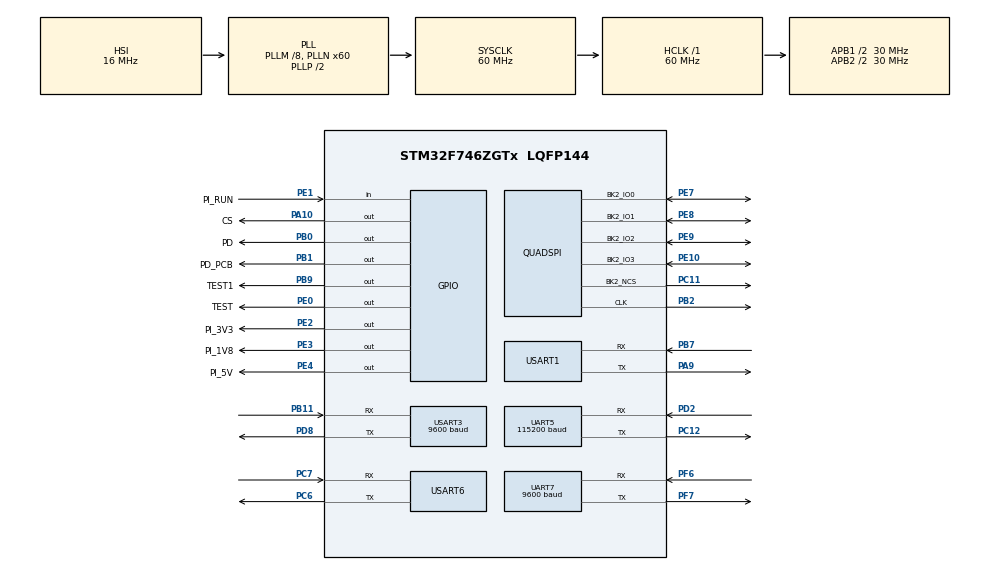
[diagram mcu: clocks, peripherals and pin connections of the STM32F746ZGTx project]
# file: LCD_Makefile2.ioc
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Dma.Request0=USART3_RX
Dma.Request1=UART7_RX
Dma.Request2=UART5_RX
Dma.Request3=USART1_RX
Dma.UART5_RX.2.Direction=DMA_PERIPH_TO_MEMORY
Dma.UART5_RX.2.FIFOMode=DMA_FIFOMODE_DISABLE
Dma.UART5_RX.2.Instance=DMA1_Stream0
Dma.UART5_RX.2.MemDataAlignment=DMA_MDATAALIGN_BYTE
Dma.UART5_RX.2.MemInc=DMA_MINC_ENABLE
Dma.UART5_RX.2.Mode=DMA_NORMAL
Dma.UART5_RX.2.PeriphDataAlignment=DMA_PDATAALIGN_BYTE
Dma.UART5_RX.2.PeriphInc=DMA_PINC_DISABLE
Dma.UART5_RX.2.Priority=DMA_PRIORITY_LOW
Dma.UART7_RX.1.Direction=DMA_PERIPH_TO_MEMORY
Dma.UART7_RX.1.FIFOMode=DMA_FIFOMODE_DISABLE
Dma.UART7_RX.1.Instance=DMA1_Stream3
Dma.UART7_RX.1.MemDataAlignment=DMA_MDATAALIGN_BYTE
Dma.UART7_RX.1.MemInc=DMA_MINC_ENABLE
Dma.UART7_RX.1.Mode=DMA_NORMAL
Dma.UART7_RX.1.PeriphDataAlignment=DMA_PDATAALIGN_BYTE
Dma.UART7_RX.1.PeriphInc=DMA_PINC_DISABLE
Dma.UART7_RX.1.Priority=DMA_PRIORITY_LOW
Dma.USART1_RX.3.Direction=DMA_PERIPH_TO_MEMORY
Dma.USART1_RX.3.FIFOMode=DMA_FIFOMODE_DISABLE
Dma.USART1_RX.3.Instance=DMA2_Stream2
Dma.USART1_RX.3.MemDataAlignment=DMA_MDATAALIGN_BYTE
Dma.USART1_RX.3.MemInc=DMA_MINC_ENABLE
Dma.USART1_RX.3.Mode=DMA_NORMAL
Dma.USART1_RX.3.PeriphDataAlignment=DMA_PDATAALIGN_BYTE
Dma.USART1_RX.3.PeriphInc=DMA_PINC_DISABLE
Dma.USART1_RX.3.Priority=DMA_PRIORITY_LOW
Dma.USART3_RX.0.Direction=DMA_PERIPH_TO_MEMORY
Dma.USART3_RX.0.FIFOMode=DMA_FIFOMODE_DISABLE
Dma.USART3_RX.0.Instance=DMA1_Stream1
Dma.USART3_RX.0.MemDataAlignment=DMA_MDATAALIGN_BYTE
Dma.USART3_RX.0.MemInc=DMA_MINC_ENABLE
Dma.USART3_RX.0.Mode=DMA_NORMAL
Dma.USART3_RX.0.PeriphDataAlignment=DMA_PDATAALIGN_BYTE
Dma.USART3_RX.0.PeriphInc=DMA_PINC_DISABLE
Dma.USART3_RX.0.Priority=DMA_PRIORITY_LOW
Mcu.Family=STM32F7
Mcu.Name=STM32F746ZGTx
Mcu.Package=LQFP144
NVIC.DMA1_Stream0_IRQn=true\:0\:0\:false\:false\:true\:false\:true
NVIC.DMA1_Stream1_IRQn=true\:0\:0\:false\:false\:true\:false\:true
NVIC.DMA1_Stream3_IRQn=true\:0\:0\:false\:false\:true\:false\:true
NVIC.DMA2_Stream2_IRQn=true\:0\:0\:false\:false\:true\:false\:true
NVIC.PriorityGroup=NVIC_PRIORITYGROUP_4
NVIC.TIM1_UP_TIM10_IRQn=true\:0\:0\:false\:false\:true\:true\:true
NVIC.UART5_IRQn=true\:0\:0\:false\:false\:true\:true\:true
NVIC.UART7_IRQn=true\:0\:0\:false\:false\:true\:true\:true
NVIC.USART1_IRQn=true\:0\:0\:false\:false\:true\:true\:true
NVIC.USART3_IRQn=true\:0\:0\:false\:false\:true\:true\:true
PA0/WKUP.Mode=SYS_WakeUp0
PA0/WKUP.Signal=SYS_WKUP1
PA10.GPIO_Label=CS
PA10.Signal=GPIO_Output
PA13.Signal=SYS_JTMS-SWDIO
PA14.Signal=SYS_JTCK-SWCLK
PA9.Mode=Asynchronous
PA9.Signal=USART1_TX
PB0.GPIO_Label=PD
PB0.Signal=GPIO_Output
PB1.GPIO_Label=PD_PCB
PB1.Signal=GPIO_Output
PB11.Mode=Asynchronous
PB11.Signal=USART3_RX
PB2.Mode=Single Bank 2
PB2.Signal=QUADSPI_CLK
PB3.Signal=SYS_JTDO-SWO
PB7.Mode=Asynchronous
PB7.Signal=USART1_RX
PB9.GPIO_Label=TEST1
PB9.Signal=GPIO_Output
PC11.GPIO_Mode=GPIO_MODE_AF_PP
PC11.Mode=Single Bank 2
PC11.Signal=QUADSPI_BK2_NCS
PC12.Mode=Asynchronous
PC12.Signal=UART5_TX
PC6.Mode=Asynchronous
PC6.Signal=USART6_TX
PC7.Mode=Asynchronous
PC7.Signal=USART6_RX
PD2.Mode=Asynchronous
PD2.Signal=UART5_RX
PD8.Mode=Asynchronous
PD8.Signal=USART3_TX
PE0.GPIO_Label=TEST
PE0.Signal=GPIO_Output
PE1.GPIO_Label=PI_RUN
PE1.Signal=GPIO_Input
PE10.Mode=Single Bank 2
PE10.Signal=QUADSPI_BK2_IO3
PE2.GPIO_Label=PI_3V3
PE2.Signal=GPIO_Output
PE3.GPIO_Label=PI_1V8
PE3.Signal=GPIO_Output
PE4.GPIO_Label=PI_5V
PE4.Signal=GPIO_Output
PE7.Mode=Single Bank 2
PE7.Signal=QUADSPI_BK2_IO0
PE8.Mode=Single Bank 2
PE8.Signal=QUADSPI_BK2_IO1
PE9.Mode=Single Bank 2
PE9.Signal=QUADSPI_BK2_IO2
PF6.Mode=Asynchronous
PF6.Signal=UART7_RX
PF7.Mode=Asynchronous
PF7.Signal=UART7_TX
ProjectManager.HeapSize=0x200
ProjectManager.StackSize=0x400
ProjectManager.TargetToolchain=SW4STM32
QUADSPI.ChipSelectHighTime=QSPI_CS_HIGH_TIME_8_CYCLE
QUADSPI.ClockPrescaler=2
RCC.AHBFreq_Value=60000000
RCC.APB1CLKDivider=RCC_HCLK_DIV2
RCC.APB1Freq_Value=30000000
RCC.APB1TimFreq_Value=60000000
RCC.APB2CLKDivider=RCC_HCLK_DIV2
RCC.APB2Freq_Value=30000000
RCC.APB2TimFreq_Value=60000000
RCC.CortexFreq_Value=60000000
RCC.HCLKFreq_Value=60000000
RCC.HSE_VALUE=25000000
RCC.HSI_VALUE=16000000
RCC.LSE_VALUE=32768
RCC.PLLM=8
RCC.PLLN=60
RCC.SYSCLKFreq_VALUE=60000000
RCC.SYSCLKSource=RCC_SYSCLKSOURCE_PLLCLK
RCC.USBFreq_Value=60000000
RCC.VCOOutputFreq_Value=120000000
TIM1.Period=49
TIM1.Prescaler=59
TIM1.TIM_MasterOutputTrigger=TIM_TRGO_UPDATE
TIM1.TIM_MasterOutputTrigger2=TIM_TRGO2_UPDATE
UART5.BaudRate=115200
UART5.OverrunDisableParam=UART_ADVFEATURE_OVERRUN_DISABLE
UART5.Parity=PARITY_NONE
UART7.BaudRate=9600
UART7.OverrunDisableParam=UART_ADVFEATURE_OVERRUN_DISABLE
UART7.WordLength=WORDLENGTH_8B
USART1.DMADisableonRxErrorParam=ADVFEATURE_DMA_DISABLEONRXERROR
USART1.OverrunDisableParam=ADVFEATURE_OVERRUN_DISABLE
USART1.VirtualMode-Asynchronous=VM_ASYNC
USART3.BaudRate=9600
USART3.OverrunDisableParam=ADVFEATURE_OVERRUN_DISABLE
USART3.VirtualMode-Asynchronous=VM_ASYNC
USART6.VirtualMode-Asynchronous=VM_ASYNC
VP_TIM1_VS_ClockSourceINT.Mode=Internal
VP_TIM1_VS_ClockSourceITR.Mode=TriggerSource_ITR0
board=custom

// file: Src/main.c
/* USER CODE BEGIN Header */
/**
  ******************************************************************************
  * @file           : main.c
  * @brief          : Main program body
  ******************************************************************************
  ** This notice applies to any and all portions of this file
  * that are not between comment pairs USER CODE BEGIN and
  * USER CODE END. Other portions of this file, whether
  * inserted by the user or by software development tools
  * are owned by their respective copyright owners.
  *
  * COPYRIGHT(c) 2019 STMicroelectronics
  *
  * Redistribution and use in source and binary forms, with or without modification,
  * are permitted provided that the following conditions are met:
  *   1. Redistributions of source code must retain the above copyright notice,
  *      this list of conditions and the following disclaimer.
  *   2. Redistributions in binary form must reproduce the above copyright notice,
  *      this list of conditions and the following disclaimer in the documentation
  *      and/or other materials provided with the distribution.
  *   3. Neither the name of STMicroelectronics nor the names of its contributors
  *      may be used to endorse or promote products derived from this software
  *      without specific prior written permission.
  *
  * THIS SOFTWARE IS PROVIDED BY THE COPYRIGHT HOLDERS AND CONTRIBUTORS "AS IS"
  * AND ANY EXPRESS OR IMPLIED WARRANTIES, INCLUDING, BUT NOT LIMITED TO, THE
  * IMPLIED WARRANTIES OF MERCHANTABILITY AND FITNESS FOR A PARTICULAR PURPOSE ARE
  * DISCLAIMED. IN NO EVENT SHALL THE COPYRIGHT HOLDER OR CONTRIBUTORS BE LIABLE
  * FOR ANY DIRECT, INDIRECT, INCIDENTAL, SPECIAL, EXEMPLARY, OR CONSEQUENTIAL
  * DAMAGES (INCLUDING, BUT NOT LIMITED TO, PROCUREMENT OF SUBSTITUTE GOODS OR
  * SERVICES; LOSS OF USE, DATA, OR PROFITS; OR BUSINESS INTERRUPTION) HOWEVER
  * CAUSED AND ON ANY THEORY OF LIABILITY, WHETHER IN CONTRACT, STRICT LIABILITY,
  * OR TORT (INCLUDING NEGLIGENCE OR OTHERWISE) ARISING IN ANY WAY OUT OF THE USE
  * OF THIS SOFTWARE, EVEN IF ADVISED OF THE POSSIBILITY OF SUCH DAMAGE.
  *
  ******************************************************************************
  */
/* USER CODE END Header */

#include "main.h"

/* USER CODE BEGIN Includes */
#include "FT_Platform.h"
#include "Ft_Esd.h"
#include "Ft_Esd_GpuAlloc.h"

/* USER CODE END Includes */

QSPI_HandleTypeDef hqspi;

TIM_HandleTypeDef htim1;

UART_HandleTypeDef huart5;
UART_HandleTypeDef huart7;
UART_HandleTypeDef huart1;
UART_HandleTypeDef huart3;
UART_HandleTypeDef huart6;
DMA_HandleTypeDef hdma_uart5_rx;
DMA_HandleTypeDef hdma_uart7_rx;
DMA_HandleTypeDef hdma_usart1_rx;
DMA_HandleTypeDef hdma_usart3_rx;

/* USER CODE BEGIN PV */

char rx_buffer[NUM_BYTES_FROM_SENSOR];
int rx_idx;
char rx_byte;
/* USER CODE END PV */

void SystemClock_Config(void);
static void MX_GPIO_Init(void);
static void MX_DMA_Init(void);
static void MX_QUADSPI_Init(void);
static void MX_GFXSIMULATOR_Init(void);
static void MX_UART5_Init(void);
static void MX_TIM1_Init(void);
static void MX_UART7_Init(void);
static void MX_USART1_UART_Init(void);
static void MX_USART3_UART_Init(void);
static void MX_USART6_UART_Init(void);
/* USER CODE BEGIN PFP */
extern ft_void_t Ft_Esd_Gui_Entry();
/* USER CODE END PFP */

int main(void)
{

  /* MCU Configuration--------------------------------------------------------*/

  /* Reset of all peripherals, Initializes the Flash interface and the Systick. */
  HAL_Init();

  /* Configure the system clock */
  SystemClock_Config();

  /* Initialize all configured peripherals */
  MX_GPIO_Init();
  MX_DMA_Init();
  MX_QUADSPI_Init();
  MX_GFXSIMULATOR_Init();
  MX_UART5_Init();
  MX_TIM1_Init();
  MX_UART7_Init();
  MX_USART1_UART_Init();
  MX_USART3_UART_Init();
  MX_USART6_UART_Init();
  /* USER CODE BEGIN 2 */
  vehicle_approached = false;
  rx_idx = 0;

  QSPI_CommandTypeDef s_command;
  s_command.InstructionMode   = QSPI_INSTRUCTION_NONE;
  s_command.AddressMode       = QSPI_ADDRESS_NONE;
  s_command.AlternateByteMode = QSPI_ALTERNATE_BYTES_NONE;
  s_command.DataMode          = QSPI_DATA_1_LINE; // QSPI_DATA_4_LINES
  s_command.DummyCycles       = 0;
  s_command.NbData            = 1;
  s_command.DdrMode           = QSPI_DDR_MODE_DISABLE;
  s_command.SIOOMode          = QSPI_SIOO_INST_ONLY_FIRST_CMD;

  if (HAL_QSPI_Command(&hqspi, &s_command, HAL_QPSI_TIMEOUT_DEFAULT_VALUE) != HAL_OK) {
        printf("HAL_ERROR\n");
        return HAL_ERROR;
  }

  HAL_Delay(2000);
  HAL_GPIO_WritePin(PI_5V_GPIO_Port, PI_5V_Pin, GPIO_PIN_SET);
  HAL_Delay(20);
  HAL_GPIO_WritePin(PI_3V3_GPIO_Port, PI_3V3_Pin, GPIO_PIN_SET);
  HAL_Delay(20);
  HAL_GPIO_WritePin(PI_1V8_GPIO_Port, PI_1V8_Pin, GPIO_PIN_SET);
  //HAL_GPIO_WritePin(PI_RUN_GPIO_Port, PI_RUN_Pin, GPIO_PIN_SET);
  //HAL_Delay(200);
  //HAL_GPIO_WritePin(TEST1_GPIO_Port, TEST1_Pin, GPIO_PIN_SET);
  //HAL_Delay(200);
 // HAL_GPIO_ReadPin(PI_RUN_GPIO_Port, PI_RUN_Pin);
  //HAL_Delay(200);
//  HAL_GPIO_WritePin(TEST_GPIO_Port, TEST_Pin, GPIO_PIN_SET);
//  HAL_GPIO_WritePin(TEST1_GPIO_Port, TEST1_Pin, GPIO_PIN_SET);
//  HAL_GPIO_ReadPin(PI_RUN_GPIO_Port, PI_RUN_Pin);
  HAL_TIM_Base_Start_IT(&htim1);

  /* USER CODE END 2 */

  /* Infinite loop */
  while (1)
  {

    /* USER CODE BEGIN 3 */
	  Ft_Esd_Gui_Entry();

//	  my_printf(huart5, "Hello\r\n");

  }
  /* USER CODE END 3 */
}

void SystemClock_Config(void)
{
  RCC_OscInitTypeDef RCC_OscInitStruct = {0};
  RCC_ClkInitTypeDef RCC_ClkInitStruct = {0};
  RCC_PeriphCLKInitTypeDef PeriphClkInitStruct = {0};

  /** Configure the main internal regulator output voltage
  */
  __HAL_RCC_PWR_CLK_ENABLE();
  __HAL_PWR_VOLTAGESCALING_CONFIG(PWR_REGULATOR_VOLTAGE_SCALE3);
  /** Initializes the CPU, AHB and APB busses clocks
  */
  RCC_OscInitStruct.OscillatorType = RCC_OSCILLATORTYPE_HSI;
  RCC_OscInitStruct.HSIState = RCC_HSI_ON;
  RCC_OscInitStruct.HSICalibrationValue = RCC_HSICALIBRATION_DEFAULT;
  RCC_OscInitStruct.PLL.PLLState = RCC_PLL_ON;
  RCC_OscInitStruct.PLL.PLLSource = RCC_PLLSOURCE_HSI;
  RCC_OscInitStruct.PLL.PLLM = 8;
  RCC_OscInitStruct.PLL.PLLN = 60;
  RCC_OscInitStruct.PLL.PLLP = RCC_PLLP_DIV2;
  RCC_OscInitStruct.PLL.PLLQ = 2;
  if (HAL_RCC_OscConfig(&RCC_OscInitStruct) != HAL_OK)
  {
    Error_Handler();
  }
  /** Initializes the CPU, AHB and APB busses clocks
  */
  RCC_ClkInitStruct.ClockType = RCC_CLOCKTYPE_HCLK|RCC_CLOCKTYPE_SYSCLK
                              |RCC_CLOCKTYPE_PCLK1|RCC_CLOCKTYPE_PCLK2;
  RCC_ClkInitStruct.SYSCLKSource = RCC_SYSCLKSOURCE_PLLCLK;
  RCC_ClkInitStruct.AHBCLKDivider = RCC_SYSCLK_DIV1;
  RCC_ClkInitStruct.APB1CLKDivider = RCC_HCLK_DIV2;
  RCC_ClkInitStruct.APB2CLKDivider = RCC_HCLK_DIV2;

  if (HAL_RCC_ClockConfig(&RCC_ClkInitStruct, FLASH_LATENCY_1) != HAL_OK)
  {
    Error_Handler();
  }
  PeriphClkInitStruct.PeriphClockSelection = RCC_PERIPHCLK_USART1|RCC_PERIPHCLK_USART3
                              |RCC_PERIPHCLK_USART6|RCC_PERIPHCLK_UART5
                              |RCC_PERIPHCLK_UART7;
  PeriphClkInitStruct.Usart1ClockSelection = RCC_USART1CLKSOURCE_PCLK2;
  PeriphClkInitStruct.Usart3ClockSelection = RCC_USART3CLKSOURCE_PCLK1;
  PeriphClkInitStruct.Uart5ClockSelection = RCC_UART5CLKSOURCE_PCLK1;
  PeriphClkInitStruct.Usart6ClockSelection = RCC_USART6CLKSOURCE_PCLK2;
  PeriphClkInitStruct.Uart7ClockSelection = RCC_UART7CLKSOURCE_PCLK1;
  if (HAL_RCCEx_PeriphCLKConfig(&PeriphClkInitStruct) != HAL_OK)
  {
    Error_Handler();
  }
}

static void MX_GFXSIMULATOR_Init(void)
{

}

static void MX_QUADSPI_Init(void)
{

  /* QUADSPI parameter configuration*/
  hqspi.Instance = QUADSPI;
  hqspi.Init.ClockPrescaler = 2;
  hqspi.Init.FifoThreshold = 1;
  hqspi.Init.SampleShifting = QSPI_SAMPLE_SHIFTING_NONE;
  hqspi.Init.FlashSize = 1;
  hqspi.Init.ChipSelectHighTime = QSPI_CS_HIGH_TIME_8_CYCLE;
  hqspi.Init.ClockMode = QSPI_CLOCK_MODE_0;
  hqspi.Init.FlashID = QSPI_FLASH_ID_2;
  hqspi.Init.DualFlash = QSPI_DUALFLASH_DISABLE;
  if (HAL_QSPI_Init(&hqspi) != HAL_OK)
  {
    Error_Handler();
  }

}

static void MX_TIM1_Init(void)
{

  TIM_ClockConfigTypeDef sClockSourceConfig = {0};
  TIM_SlaveConfigTypeDef sSlaveConfig = {0};
  TIM_MasterConfigTypeDef sMasterConfig = {0};

  htim1.Instance = TIM1;
  htim1.Init.Prescaler = 59999;
  htim1.Init.CounterMode = TIM_COUNTERMODE_UP;
  htim1.Init.Period = 99;
  htim1.Init.ClockDivision = TIM_CLOCKDIVISION_DIV1;
  htim1.Init.RepetitionCounter = 0;
  htim1.Init.AutoReloadPreload = TIM_AUTORELOAD_PRELOAD_DISABLE;
  if (HAL_TIM_Base_Init(&htim1) != HAL_OK)
  {
    Error_Handler();
  }
  sClockSourceConfig.ClockSource = TIM_CLOCKSOURCE_INTERNAL;
  if (HAL_TIM_ConfigClockSource(&htim1, &sClockSourceConfig) != HAL_OK)
  {
    Error_Handler();
  }
  sSlaveConfig.SlaveMode = TIM_SLAVEMODE_DISABLE;
  sSlaveConfig.InputTrigger = TIM_TS_ITR0;
  if (HAL_TIM_SlaveConfigSynchro(&htim1, &sSlaveConfig) != HAL_OK)
  {
    Error_Handler();
  }
  sMasterConfig.MasterOutputTrigger = TIM_TRGO_UPDATE;
  sMasterConfig.MasterOutputTrigger2 = TIM_TRGO2_UPDATE;
  sMasterConfig.MasterSlaveMode = TIM_MASTERSLAVEMODE_DISABLE;
  if (HAL_TIMEx_MasterConfigSynchronization(&htim1, &sMasterConfig) != HAL_OK)
  {
    Error_Handler();
  }

}

static void MX_UART5_Init(void)
{

  huart5.Instance = UART5;
  huart5.Init.BaudRate = 9600;
  huart5.Init.WordLength = UART_WORDLENGTH_8B;
  huart5.Init.StopBits = UART_STOPBITS_1;
  huart5.Init.Parity = UART_PARITY_NONE;
  huart5.Init.Mode = UART_MODE_TX_RX;
  huart5.Init.HwFlowCtl = UART_HWCONTROL_NONE;
  huart5.Init.OverSampling = UART_OVERSAMPLING_16;
  huart5.Init.OneBitSampling = UART_ONE_BIT_SAMPLE_DISABLE;
  huart5.AdvancedInit.AdvFeatureInit = UART_ADVFEATURE_RXOVERRUNDISABLE_INIT;
  huart5.AdvancedInit.OverrunDisable = UART_ADVFEATURE_OVERRUN_DISABLE;
  if (HAL_UART_Init(&huart5) != HAL_OK)
  {
    Error_Handler();
  }

}

static void MX_UART7_Init(void)
{

  huart7.Instance = UART7;
  huart7.Init.BaudRate = 9600;
  huart7.Init.WordLength = UART_WORDLENGTH_8B;
  huart7.Init.StopBits = UART_STOPBITS_1;
  huart7.Init.Parity = UART_PARITY_NONE;
  huart7.Init.Mode = UART_MODE_TX_RX;
  huart7.Init.HwFlowCtl = UART_HWCONTROL_NONE;
  huart7.Init.OverSampling = UART_OVERSAMPLING_16;
  huart7.Init.OneBitSampling = UART_ONE_BIT_SAMPLE_DISABLE;
  huart7.AdvancedInit.AdvFeatureInit = UART_ADVFEATURE_RXOVERRUNDISABLE_INIT;
  huart7.AdvancedInit.OverrunDisable = UART_ADVFEATURE_OVERRUN_DISABLE;
  if (HAL_UART_Init(&huart7) != HAL_OK)
  {
    Error_Handler();
  }

}

static void MX_USART1_UART_Init(void)
{

  huart1.Instance = USART1;
  huart1.Init.BaudRate = 115200;
  huart1.Init.WordLength = UART_WORDLENGTH_8B;
  huart1.Init.StopBits = UART_STOPBITS_1;
  huart1.Init.Parity = UART_PARITY_NONE;
  huart1.Init.Mode = UART_MODE_TX_RX;
  huart1.Init.HwFlowCtl = UART_HWCONTROL_NONE;
  huart1.Init.OverSampling = UART_OVERSAMPLING_16;
  huart1.Init.OneBitSampling = UART_ONE_BIT_SAMPLE_DISABLE;
  huart1.AdvancedInit.AdvFeatureInit = UART_ADVFEATURE_RXOVERRUNDISABLE_INIT|UART_ADVFEATURE_DMADISABLEONERROR_INIT;
  huart1.AdvancedInit.OverrunDisable = UART_ADVFEATURE_OVERRUN_DISABLE;
  huart1.AdvancedInit.DMADisableonRxError = UART_ADVFEATURE_DMA_DISABLEONRXERROR;
  if (HAL_UART_Init(&huart1) != HAL_OK)
  {
    Error_Handler();
  }

}

static void MX_USART3_UART_Init(void)
{

  huart3.Instance = USART3;
  huart3.Init.BaudRate = 9600;
  huart3.Init.WordLength = UART_WORDLENGTH_8B;
  huart3.Init.StopBits = UART_STOPBITS_1;
  huart3.Init.Parity = UART_PARITY_NONE;
  huart3.Init.Mode = UART_MODE_TX_RX;
  huart3.Init.HwFlowCtl = UART_HWCONTROL_NONE;
  huart3.Init.OverSampling = UART_OVERSAMPLING_16;
  huart3.Init.OneBitSampling = UART_ONE_BIT_SAMPLE_DISABLE;
  huart3.AdvancedInit.AdvFeatureInit = UART_ADVFEATURE_RXOVERRUNDISABLE_INIT;
  huart3.AdvancedInit.OverrunDisable = UART_ADVFEATURE_OVERRUN_DISABLE;
  if (HAL_UART_Init(&huart3) != HAL_OK)
  {
    Error_Handler();
  }

}

static void MX_USART6_UART_Init(void)
{

  huart6.Instance = USART6;
  huart6.Init.BaudRate = 115200;
  huart6.Init.WordLength = UART_WORDLENGTH_8B;
  huart6.Init.StopBits = UART_STOPBITS_1;
  huart6.Init.Parity = UART_PARITY_NONE;
  huart6.Init.Mode = UART_MODE_TX_RX;
  huart6.Init.HwFlowCtl = UART_HWCONTROL_NONE;
  huart6.Init.OverSampling = UART_OVERSAMPLING_16;
  huart6.Init.OneBitSampling = UART_ONE_BIT_SAMPLE_DISABLE;
  huart6.AdvancedInit.AdvFeatureInit = UART_ADVFEATURE_NO_INIT;
  if (HAL_UART_Init(&huart6) != HAL_OK)
  {
    Error_Handler();
  }

}

static void MX_DMA_Init(void)
{
  /* DMA controller clock enable */
  __HAL_RCC_DMA1_CLK_ENABLE();
  __HAL_RCC_DMA2_CLK_ENABLE();

  /* DMA interrupt init */
  /* DMA1_Stream0_IRQn interrupt configuration */
  HAL_NVIC_SetPriority(DMA1_Stream0_IRQn, 0, 0);
  HAL_NVIC_EnableIRQ(DMA1_Stream0_IRQn);
  /* DMA1_Stream1_IRQn interrupt configuration */
  HAL_NVIC_SetPriority(DMA1_Stream1_IRQn, 0, 0);
  HAL_NVIC_EnableIRQ(DMA1_Stream1_IRQn);
  /* DMA1_Stream3_IRQn interrupt configuration */
  HAL_NVIC_SetPriority(DMA1_Stream3_IRQn, 0, 0);
  HAL_NVIC_EnableIRQ(DMA1_Stream3_IRQn);
  /* DMA2_Stream2_IRQn interrupt configuration */
  HAL_NVIC_SetPriority(DMA2_Stream2_IRQn, 0, 0);
  HAL_NVIC_EnableIRQ(DMA2_Stream2_IRQn);

}

static void MX_GPIO_Init(void)
{
  GPIO_InitTypeDef GPIO_InitStruct = {0};

  /* GPIO Ports Clock Enable */
  __HAL_RCC_GPIOE_CLK_ENABLE();
  __HAL_RCC_GPIOF_CLK_ENABLE();
  __HAL_RCC_GPIOA_CLK_ENABLE();
  __HAL_RCC_GPIOB_CLK_ENABLE();
  __HAL_RCC_GPIOD_CLK_ENABLE();
  __HAL_RCC_GPIOC_CLK_ENABLE();

  /*Configure GPIO pin Output Level */
  HAL_GPIO_WritePin(GPIOE, PI_3V3_Pin|PI_1V8_Pin|PI_5V_Pin|TEST_Pin, GPIO_PIN_RESET);

  /*Configure GPIO pin Output Level */
  HAL_GPIO_WritePin(GPIOB, PD_Pin|PD_PCB_Pin|TEST1_Pin, GPIO_PIN_RESET);

  /*Configure GPIO pin Output Level */
  HAL_GPIO_WritePin(CS_GPIO_Port, CS_Pin, GPIO_PIN_RESET);

  /*Configure GPIO pins : PI_3V3_Pin PI_1V8_Pin PI_5V_Pin TEST_Pin */
  GPIO_InitStruct.Pin = PI_3V3_Pin|PI_1V8_Pin|PI_5V_Pin|TEST_Pin;
  GPIO_InitStruct.Mode = GPIO_MODE_OUTPUT_PP;
  GPIO_InitStruct.Pull = GPIO_NOPULL;
  GPIO_InitStruct.Speed = GPIO_SPEED_FREQ_LOW;
  HAL_GPIO_Init(GPIOE, &GPIO_InitStruct);

  /*Configure GPIO pins : PD_Pin PD_PCB_Pin TEST1_Pin */
  GPIO_InitStruct.Pin = PD_Pin|PD_PCB_Pin|TEST1_Pin;
  GPIO_InitStruct.Mode = GPIO_MODE_OUTPUT_PP;
  GPIO_InitStruct.Pull = GPIO_NOPULL;
  GPIO_InitStruct.Speed = GPIO_SPEED_FREQ_LOW;
  HAL_GPIO_Init(GPIOB, &GPIO_InitStruct);

  /*Configure GPIO pin : CS_Pin */
  GPIO_InitStruct.Pin = CS_Pin;
  GPIO_InitStruct.Mode = GPIO_MODE_OUTPUT_PP;
  GPIO_InitStruct.Pull = GPIO_NOPULL;
  GPIO_InitStruct.Speed = GPIO_SPEED_FREQ_LOW;
  HAL_GPIO_Init(CS_GPIO_Port, &GPIO_InitStruct);

  /*Configure GPIO pin : PI_RUN_Pin */
  GPIO_InitStruct.Pin = PI_RUN_Pin;
  GPIO_InitStruct.Mode = GPIO_MODE_INPUT;
  GPIO_InitStruct.Pull = GPIO_NOPULL;
  HAL_GPIO_Init(PI_RUN_GPIO_Port, &GPIO_InitStruct);

}

void Error_Handler(void)
{
}

/************************ (C) COPYRIGHT STMicroelectronics *****END OF FILE****/
